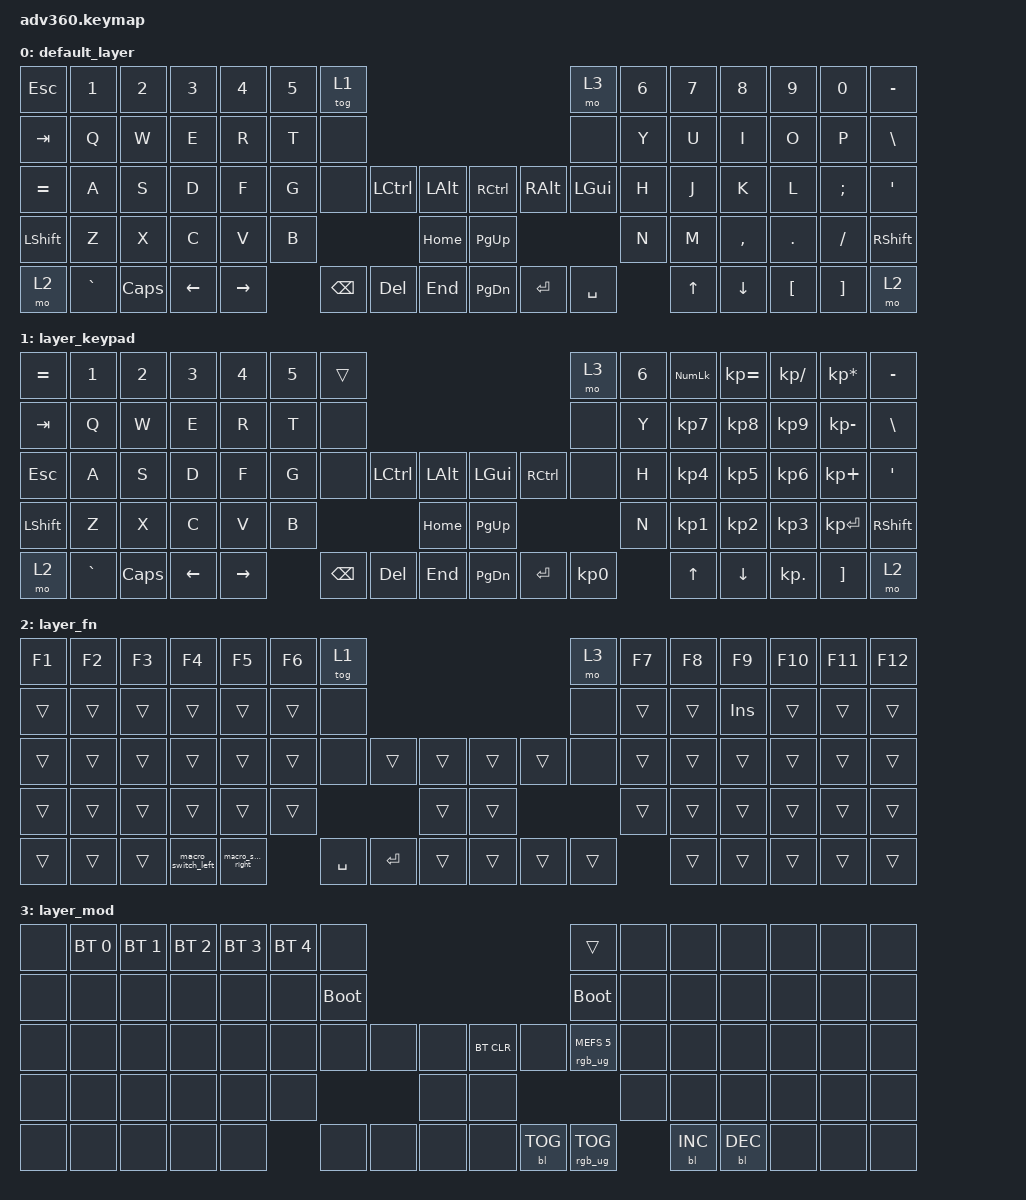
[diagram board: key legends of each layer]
/*
 * Copyright (c) 2020 The ZMK Contributors
 *
 * SPDX-License-Identifier: MIT
 */
/* THIS FILE WAS GENERATED!
 *
 * This file was generated automatically. You may or may not want to
 * edit it directly.
 */

#include <behaviors.dtsi>
#include <dt-bindings/zmk/backlight.h>
#include <dt-bindings/zmk/bt.h>
#include <dt-bindings/zmk/keys.h>
#include <dt-bindings/zmk/rgb.h>

/ {
    behaviors {
        macros {
            macro_switch_left: macro_switch_left {
                compatible = "zmk,behavior-macro";
                label = "macro_switch_left";
                #binding-cells = <0>;
                bindings =
                    <&macro_press>,
                    <&kp LCTRL>,
                    <&macro_press>,
                    <&kp LALT>,
                    <&macro_tap>,
                    <&kp HOME>,
                    <&macro_release>,
                    <&kp LALT>,
                    <&macro_wait_time 500>,
                    <&macro_press>,
                    <&kp LGUI>,
                    <&macro_tap>,
                    <&kp LEFT>,
                    <&macro_release>,
                    <&kp LEFT_WIN>,
                    <&macro_release>,
                    <&kp LCTRL>;
            };
            macro_switch_right: macro_switch_right {
                compatible = "zmk,behavior-macro";
                label = "macro_switch_right";
                #binding-cells = <0>;
                bindings =
                    <&macro_press>,
                    <&kp LCTRL>,
                    <&macro_press>,
                    <&kp LALT>,
                    <&macro_tap>,
                    <&kp HOME>,
                    <&macro_release>,
                    <&kp LALT>,
                    <&macro_wait_time 500>,
                    <&macro_press>,
                    <&kp LGUI>,
                    <&macro_tap>,
                    <&kp RIGHT>,
                    <&macro_release>,
                    <&kp LEFT_WIN>,
                    <&macro_release>,
                    <&kp LCTRL>;
            };
        };

        hm: homerow_mods {
            compatible = "zmk,behavior-hold-tap";
            label = "HOMEROW_MODS";
            #binding-cells = <2>;
            tapping-term-ms = <200>;
            quick_tap_ms = <175>;
            flavor = "tap-preferred";
            bindings = <&kp>, <&kp>;
        };
    };

    combos {
        compatible = "zmk,combos";

        Undo {
            bindings = <&kp LC(Z)>;
            key-positions = <47 48>;
        };

        Copy {
            bindings = <&kp LC(C)>;
            key-positions = <48 49>;
        };

        Paste {
            bindings = <&kp LC(V)>;
            key-positions = <50 49>;
        };
    };

    macros {
    };

    keymap {
        compatible = "zmk,keymap";

        default_layer {
            bindings = <
&kp ESC    &kp N1     &kp N2    &kp N3    &kp N4     &kp N5  &tog 1                                                   &mo 3      &kp N6  &kp N7  &kp N8     &kp N9    &kp N0    &kp MINUS
&kp TAB    &kp Q      &kp W     &kp E     &kp R      &kp T   &none                                                    &none      &kp Y   &kp U   &kp I      &kp O     &kp P     &kp BSLH
&kp EQUAL  &kp A      &kp S     &kp D     &kp F      &kp G   &none     &kp LCTRL  &kp LALT      &kp RCTRL  &kp RALT   &kp LGUI   &kp H   &kp J   &kp K      &kp L     &kp SEMI  &kp SQT
&kp LSHFT  &kp Z      &kp X     &kp C     &kp V      &kp B                        &kp HOME      &kp PG_UP                        &kp N   &kp M   &kp COMMA  &kp DOT   &kp FSLH  &kp RSHFT
&mo 2      &kp GRAVE  &kp CAPS  &kp LEFT  &kp RIGHT          &kp BSPC  &kp DEL    &kp END       &kp PG_DN  &kp ENTER  &kp SPACE          &kp UP  &kp DOWN   &kp LBKT  &kp RBKT  &mo 2
            >;
        };

        layer_keypad {
            bindings = <
&kp EQUAL  &kp N1     &kp N2    &kp N3    &kp N4     &kp N5  &trans                                                   &mo 3      &kp N6  &kp KP_NUM  &kp KP_EQUAL  &kp KP_DIVIDE  &kp KP_MULTIPLY  &kp MINUS
&kp TAB    &kp Q      &kp W     &kp E     &kp R      &kp T   &none                                                    &none      &kp Y   &kp KP_N7   &kp KP_N8     &kp KP_N9      &kp KP_MINUS     &kp BSLH
&kp ESC    &kp A      &kp S     &kp D     &kp F      &kp G   &none     &kp LCTRL  &kp LALT      &kp LGUI   &kp RCTRL  &none      &kp H   &kp KP_N4   &kp KP_N5     &kp KP_N6      &kp KP_PLUS      &kp SQT
&kp LSHFT  &kp Z      &kp X     &kp C     &kp V      &kp B                        &kp HOME      &kp PG_UP                        &kp N   &kp KP_N1   &kp KP_N2     &kp KP_N3      &kp KP_ENTER     &kp RSHFT
&mo 2      &kp GRAVE  &kp CAPS  &kp LEFT  &kp RIGHT          &kp BSPC  &kp DEL    &kp END       &kp PG_DN  &kp ENTER  &kp KP_N0          &kp UP      &kp DOWN      &kp KP_DOT     &kp RBKT         &mo 2
            >;
        };

        layer_fn {
            bindings = <
&kp F1  &kp F2  &kp F3  &kp F4              &kp F5               &kp F6  &tog 1                                            &mo 3   &kp F7  &kp F8  &kp F9   &kp F10  &kp F11  &kp F12
&trans  &trans  &trans  &trans              &trans               &trans  &none                                             &none   &trans  &trans  &kp INS  &trans   &trans   &trans
&trans  &trans  &trans  &trans              &trans               &trans  &none      &trans     &trans      &trans  &trans  &none   &trans  &trans  &trans   &trans   &trans   &trans
&trans  &trans  &trans  &trans              &trans               &trans                        &trans      &trans                  &trans  &trans  &trans   &trans   &trans   &trans
&trans  &trans  &trans  &macro_switch_left  &macro_switch_right          &kp SPACE  &kp ENTER  &trans      &trans  &trans  &trans          &trans  &trans   &trans   &trans   &trans
            >;
        };

        layer_mod {
            bindings = <
&none  &bt BT_SEL 0  &bt BT_SEL 1  &bt BT_SEL 2  &bt BT_SEL 3  &bt BT_SEL 4  &none                                                  &trans                  &none  &none       &none       &none  &none  &none
&none  &none         &none         &none         &none         &none         &bootloader                                            &bootloader             &none  &none       &none       &none  &none  &none
&none  &none         &none         &none         &none         &none         &none        &none  &none      &bt BT_CLR  &none       &rgb_ug RGB_MEFS_CMD 5  &none  &none       &none       &none  &none  &none
&none  &none         &none         &none         &none         &none                             &none      &none                                           &none  &none       &none       &none  &none  &none
&none  &none         &none         &none         &none                       &none        &none  &none      &none       &bl BL_TOG  &rgb_ug RGB_TOG                &bl BL_INC  &bl BL_DEC  &none  &none  &none
            >;
        };
    };
};
